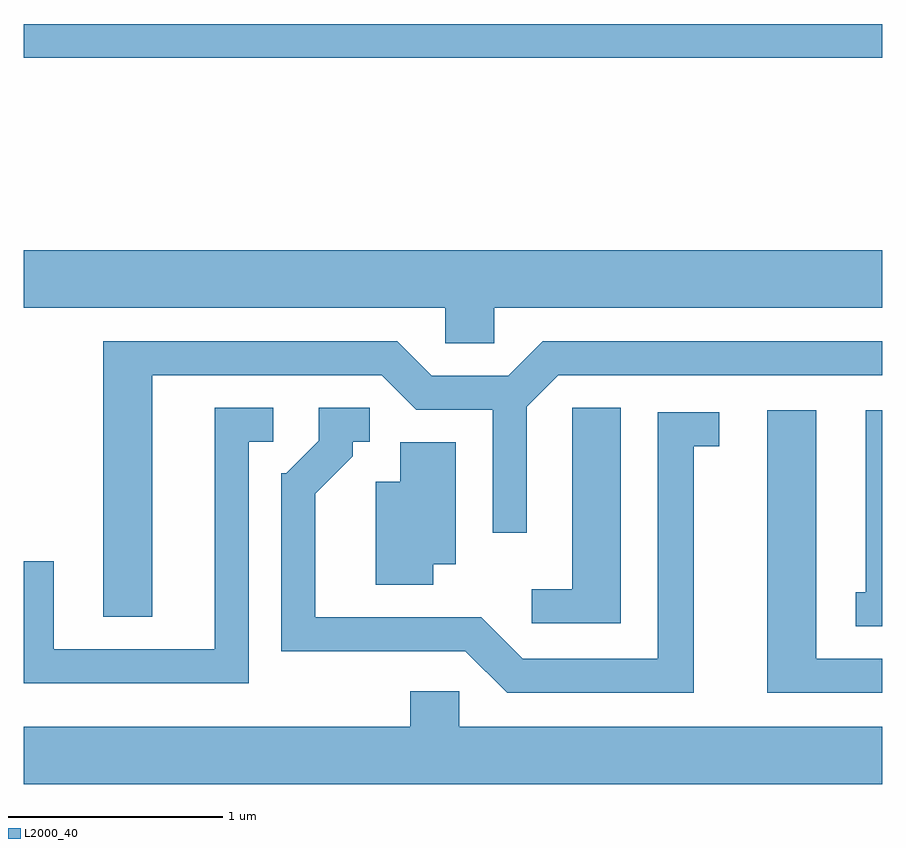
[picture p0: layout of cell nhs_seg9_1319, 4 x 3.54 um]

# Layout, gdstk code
import gdstk
lib = gdstk.Library(unit=1e-6, precision=1e-09)
def R(c, l, rs):  # rectangles x0, y0, x1, y1
    for r in rs: c.add(gdstk.rectangle(r[:2], r[2:], *l))
def P(c, l, *ps):  # polygons
    for p in ps: c.add(gdstk.Polygon(p, *l))
L2000_40 = (2000, 40)

nhs_seg9_1319 = lib.new_cell('nhs_seg9_1319')
R(nhs_seg9_1319, L2000_40, [(223.611,2001.861,227.611,2002.019)])
P(nhs_seg9_1319, L2000_40, [(225.804,2000.696),(227.611,2000.696),(227.611,2000.964),(223.611,2000.964),(223.611,2000.696),(225.576,2000.696),(225.576,2000.531),(225.804,2000.531)],
  [(224.209,2000.381),(225.279,2000.381),(225.439,2000.221),(225.796,2000.221),(225.796,1999.648),(225.954,1999.648),(225.954,2000.234),(226.102,2000.381),(227.611,2000.381),(227.611,2000.539),(226.029,2000.539),(225.869,2000.379),(225.512,2000.379),(225.352,2000.539),(223.981,2000.539),(223.981,1999.256),(224.209,1999.256)],
  [(224.659,2000.071),(224.773,2000.071),(224.773,2000.229),(224.501,2000.229),(224.501,1999.104),(223.749,1999.104),(223.749,1999.514),(223.611,1999.514),(223.611,1998.946),(224.659,1998.946)],
  [(226.734,2000.051),(226.853,2000.051),(226.853,2000.209),(226.566,2000.209),(226.566,1999.059),(225.937,1999.059),(225.742,1999.254),(224.969,1999.254),(224.969,1999.829),(225.144,2000.004),(225.144,2000.071),(225.223,2000.071),(225.223,2000.229),(224.986,2000.229),(224.986,2000.077),(224.834,1999.924),(224.811,1999.924),(224.811,1999.096),(225.669,1999.096),(225.864,1998.901),(226.734,1998.901)],
  [(226.394,2000.229),(226.166,2000.229),(226.166,1999.384),(225.978,1999.384),(225.978,1999.226),(226.394,1999.226)],
  [(227.611,1999.059),(227.304,1999.059),(227.304,2000.219),(227.076,2000.219),(227.076,1998.901),(227.611,1998.901)],
  [(227.611,2000.219),(227.536,2000.219),(227.536,1999.369),(227.488,1999.369),(227.488,1999.211),(227.611,1999.211)],
  [(225.519,1999.501),(225.624,1999.501),(225.624,2000.069),(225.366,2000.069),(225.366,1999.884),(225.251,1999.884),(225.251,1999.406),(225.519,1999.406)],
  [(227.611,1998.744),(225.639,1998.744),(225.639,1998.909),(225.411,1998.909),(225.411,1998.744),(223.611,1998.744),(223.611,1998.476),(227.611,1998.476)])

lib.write_gds('nhs_seg9_1319.gds')
